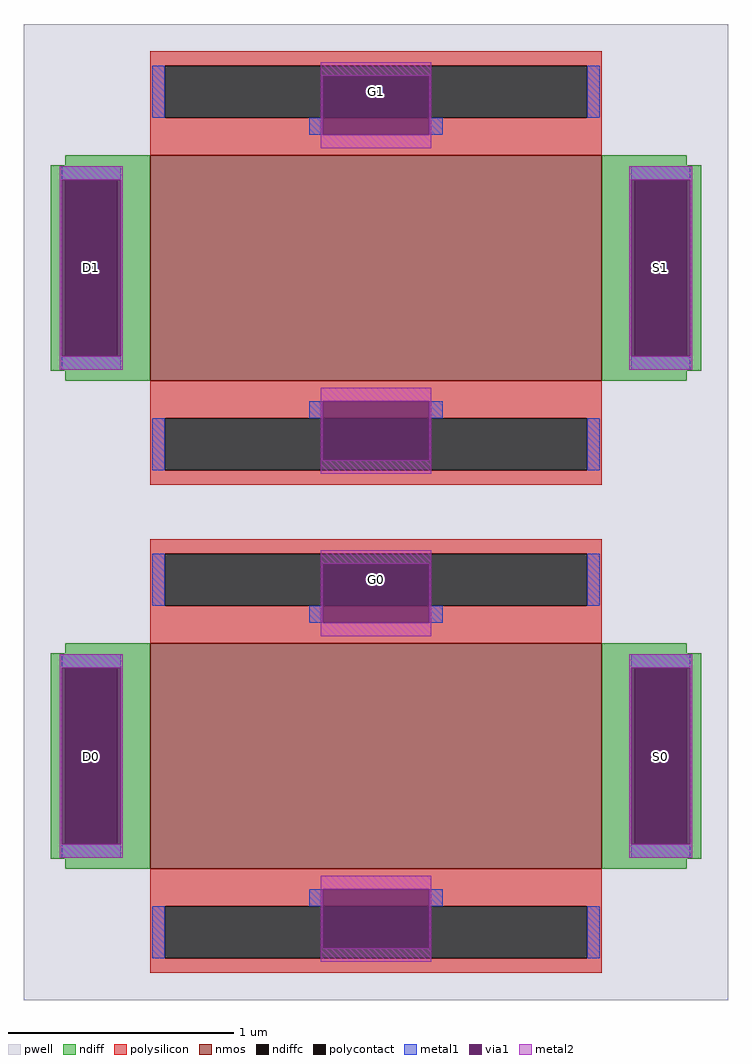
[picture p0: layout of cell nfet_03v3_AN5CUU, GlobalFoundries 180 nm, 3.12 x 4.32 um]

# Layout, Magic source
magic
tech gf180mcuD
magscale 1 10
<< pwell >>
rect -312 -432 312 432
<< nmos >>
rect -200 116 200 316
rect -200 -316 200 -116
<< ndiff >>
rect -275 307 -200 316
rect -288 294 -200 307
rect -288 138 -275 294
rect -229 138 -200 294
rect -288 125 -200 138
rect -275 116 -200 125
rect 200 307 275 316
rect 200 294 288 307
rect 200 138 229 294
rect 275 138 288 294
rect 200 125 288 138
rect 200 116 275 125
rect -275 -125 -200 -116
rect -288 -138 -200 -125
rect -288 -294 -275 -138
rect -229 -294 -200 -138
rect -288 -307 -200 -294
rect -275 -316 -200 -307
rect 200 -125 275 -116
rect 200 -138 288 -125
rect 200 -294 229 -138
rect 275 -294 288 -138
rect 200 -307 288 -294
rect 200 -316 275 -307
<< ndiffc >>
rect -275 138 -229 294
rect 229 138 275 294
rect -275 -294 -229 -138
rect 229 -294 275 -138
<< polysilicon >>
rect -200 395 200 408
rect -200 349 -187 395
rect 187 349 200 395
rect -200 316 200 349
rect -200 83 200 116
rect -200 37 -187 83
rect 187 37 200 83
rect -200 24 200 37
rect -200 -37 200 -24
rect -200 -83 -187 -37
rect 187 -83 200 -37
rect -200 -116 200 -83
rect -200 -349 200 -316
rect -200 -395 -187 -349
rect 187 -395 200 -349
rect -200 -408 200 -395
<< polycontact >>
rect -187 349 187 395
rect -187 37 187 83
rect -187 -83 187 -37
rect -187 -395 187 -349
<< metal1 >>
rect -198 349 -187 395
rect 187 349 198 395
rect -59 334 -47 349
rect 47 334 59 349
rect -278 294 -226 306
rect -278 126 -226 138
rect 226 294 278 306
rect 226 126 278 138
rect -59 83 -47 98
rect 47 83 59 98
rect -198 37 -187 83
rect 187 37 198 83
rect -198 -83 -187 -37
rect 187 -83 198 -37
rect -59 -98 -47 -83
rect 47 -98 59 -83
rect -278 -138 -226 -126
rect -278 -306 -226 -294
rect 226 -138 278 -126
rect 226 -306 278 -294
rect -59 -349 -47 -334
rect 47 -349 59 -334
rect -198 -395 -187 -349
rect 187 -395 198 -349
<< via1 >>
rect -47 349 47 386
rect -47 334 47 349
rect -278 138 -275 294
rect -275 138 -229 294
rect -229 138 -226 294
rect 226 138 229 294
rect 229 138 275 294
rect 275 138 278 294
rect -47 83 47 98
rect -47 46 47 83
rect -47 -83 47 -46
rect -47 -98 47 -83
rect -278 -294 -275 -138
rect -275 -294 -229 -138
rect -229 -294 -226 -138
rect 226 -294 229 -138
rect 229 -294 275 -138
rect 275 -294 278 -138
rect -47 -349 47 -334
rect -47 -386 47 -349
<< metal2 >>
rect -49 386 49 398
rect -49 334 -47 386
rect 47 334 49 386
rect -49 322 49 334
rect -280 294 -224 306
rect -280 138 -278 294
rect -226 138 -224 294
rect -280 126 -224 138
rect 224 294 280 306
rect 224 138 226 294
rect 278 138 280 294
rect 224 126 280 138
rect -49 98 49 110
rect -49 46 -47 98
rect 47 46 49 98
rect -49 34 49 46
rect -49 -46 49 -34
rect -49 -98 -47 -46
rect 47 -98 49 -46
rect -49 -110 49 -98
rect -280 -138 -224 -126
rect -280 -294 -278 -138
rect -226 -294 -224 -138
rect -280 -306 -224 -294
rect 224 -138 280 -126
rect 224 -294 226 -138
rect 278 -294 280 -138
rect 224 -306 280 -294
rect -49 -334 49 -322
rect -49 -386 -47 -334
rect 47 -386 49 -334
rect -49 -398 49 -386
<< labels >>
rlabel ndiffc -252 -216 -252 -216 0 D0
port 1 nsew
rlabel ndiffc 252 -216 252 -216 0 S0
port 2 nsew
rlabel polycontact 0 -60 0 -60 0 G0
port 3 nsew
rlabel ndiffc -252 216 -252 216 0 D1
port 4 nsew
rlabel ndiffc 252 216 252 216 0 S1
port 5 nsew
rlabel polycontact 0 372 0 372 0 G1
port 6 nsew
<< properties >>
string gencell nfet_03v3
string library gf180mcu
string parameters w 1.0 l 2.0 m 2 nf 1 diffcov 90 polycov 100 guard 0 glc 1 grc 1 gtc 0 gbc 0 tbcov 100 rlcov 100 topc 1 botc 1 poverlap 0 doverlap 0 lmin 0.28 wmin 0.22 class mosfet full_metal 0 viasrc 90 viadrn 90 viagate 25 viagb 0 viagr 0 viagl 0 viagt 0 doports 1 compatible {nfet_03v3 nfet_05v0 nfet_06v0 nfet_06v0_nvt}
<< end >>
